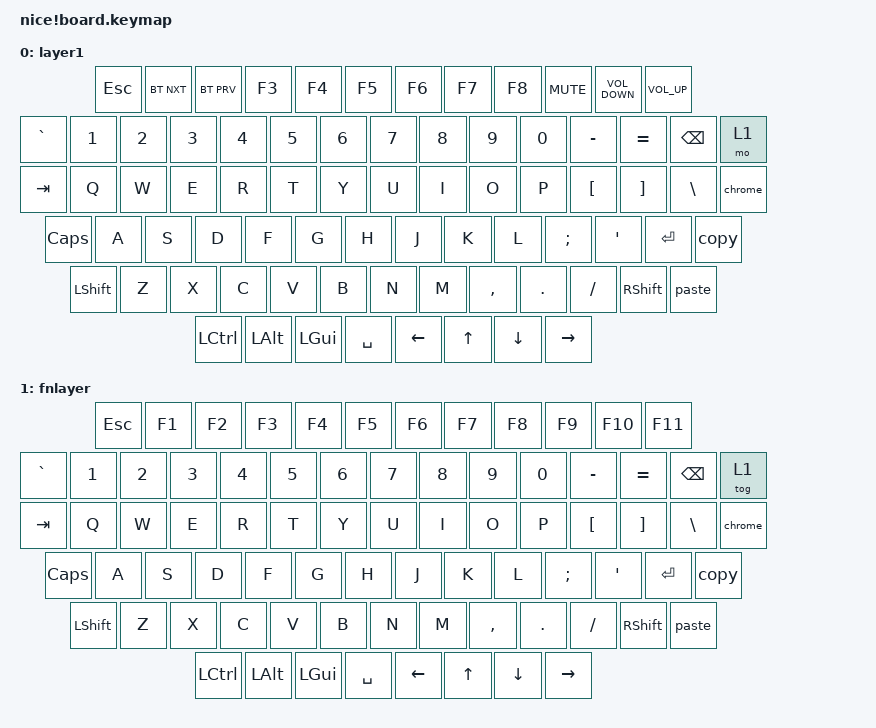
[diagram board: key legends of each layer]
/*
 * Copyright (c) 2022 The ZMK Contributors
 *
 * SPDX-License-Identifier: MIT
 */

#include <behaviors.dtsi>
#include <dt-bindings/zmk/keys.h>
#include <dt-bindings/zmk/bt.h>

/ {
    macros {
        copy: copy {
            compatible = "zmk,behavior-macro";
            #binding-cells = <0>;

            bindings =
                <&kp LEFT_COMMAND DOWN>,
                <&kp C>,
                <&kp LEFT_COMMAND UP>;
        };

        paste: paste {
            compatible = "zmk,behavior-macro";
            #binding-cells = <0>;

            bindings =
                <&kp LEFT_COMMAND DOWN>,
                <&kp V>,
                <&kp LEFT_COMMAND UP>;
        };

        chrome: chrome {
            compatible = "zmk,behavior-macro";
            #binding-cells = <0>;

            bindings =
                <&kp LEFT_COMMAND DOWN>,
                <&kp SPACE>,
                <&kp LEFT_COMMAND UP>,
                <&kp C>,
                <&kp H>,
                <&kp R>,
                <&kp O>,
                <&kp M>,
                <&kp E>,
                <&kp ENTER>;
        };
    };

    keymap {
        compatible = "zmk,keymap";

        layer1 {
            bindings = <
                &kp ESC   &bt BT_NXT  &bt BT_PRV  &kp F3   &kp F4   &kp F5   &kp F6   &kp F7   &kp F8   &kp C_MUTE   &kp C_VOLUME_DOWN  &kp C_VOLUME_UP

                &kp GRAVE &kp N1   &kp N2   &kp N3   &kp N4   &kp N5   &kp N6   &kp N7   &kp N8   &kp N9   &kp N0   &kp MINUS   &kp EQUAL &kp BSPC   &mo 1

                &kp TAB   &kp Q   &kp W   &kp E    &kp R    &kp T    &kp Y    &kp U    &kp I    &kp O   &kp P   &kp LBKT   &kp RBKT  &kp BSLH  &chrome

                &kp CAPS  &kp A   &kp S   &kp D    &kp F    &kp G    &kp H    &kp J    &kp K    &kp L   &kp SEMI   &kp SQT   &kp ENTER &copy

                &kp LSHFT &kp Z   &kp X   &kp C    &kp V    &kp B    &kp N    &kp M    &kp COMMA &kp DOT   &kp FSLH   &kp RSHFT   &paste

                &kp LCTRL &kp LALT   &kp LGUI   &kp SPACE &kp LEFT &kp UP   &kp DOWN &kp RIGHT
            >;
        };

        fnlayer {
            bindings = <
                &kp ESC   &kp F1   &kp F2   &kp F3   &kp F4   &kp F5   &kp F6   &kp F7   &kp F8   &kp F9   &kp F10   &kp F11

                &kp GRAVE &kp N1  &kp N2   &kp N3   &kp N4   &kp N5   &kp N6   &kp N7   &kp N8   &kp N9   &kp N0   &kp MINUS   &kp EQUAL &kp BSPC  &tog 1

                &kp TAB   &kp Q   &kp W   &kp E    &kp R    &kp T    &kp Y    &kp U    &kp I    &kp O   &kp P   &kp LBKT   &kp RBKT  &kp BSLH  &chrome

                &kp CAPS  &kp A   &kp S   &kp D    &kp F    &kp G    &kp H    &kp J    &kp K    &kp L   &kp SEMI   &kp SQT   &kp ENTER &copy

                &kp LSHFT &kp Z   &kp X   &kp C    &kp V    &kp B    &kp N    &kp M    &kp COMMA &kp DOT   &kp FSLH   &kp RSHFT   &paste

                &kp LCTRL &kp LALT   &kp LGUI   &kp SPACE &kp LEFT &kp UP   &kp DOWN &kp RIGHT
            >;
        };
    };
};
